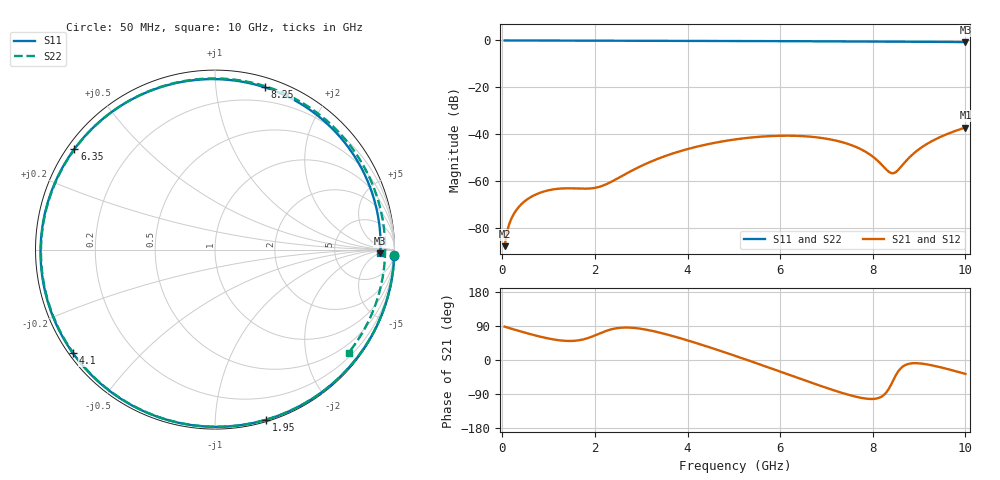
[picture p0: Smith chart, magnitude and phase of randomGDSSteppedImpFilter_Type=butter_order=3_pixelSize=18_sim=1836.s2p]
! freq	dB(S11)	phase(S11)	dB(S12)	phase(S12)
!  dB(S21)	phase(S21)	dB(S22)	phase(S22)
!S-par simulation data
#  GHz  S  DB  R 50
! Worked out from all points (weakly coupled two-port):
!   200 points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, 50 MHz to 10 GHz, reference 50 ohm
!   highest |S21| = -37.21 dB at 10 GHz (marker M1); lowest = -87.9 dB at 50 MHz (marker M2)
!   lowest |S11| = -0.7 dB at 10 GHz (marker M3), VSWR 24.45, Z = 1.13e+03 - j321 ohm
!   |S11| at or under -10 dB: nowhere
!   |S22| runs from -0.5 to 0.0 dB; largest |S21 - S12| = 0
!   S11 on the Smith chart (normalised r, x): 50 MHz: 1, -57; 1.95 GHz: 0.01, -1.34; 4.1 GHz: 0.01, -0.33; 6.35 GHz: 0.02, +0.32; 8.25 GHz: 0.08, +1.35; 10 GHz: 23, -6
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0.05  -0.01 -2.0  -87.92 88.0  -87.92 88.0  -0.00 -1.9
0.1  -0.01 -3.9  -81.93 86.1  -81.93 86.1  -0.01 -3.7
0.4  -0.02 -15.6  -70.22 75.3  -70.22 75.3  -0.02 -14.6
0.7  -0.03 -27.2  -66.04 65.2  -66.04 65.2  -0.03 -25.5
1.15  -0.05 -44.3  -63.51 53.4  -63.51 53.4  -0.05 -41.7
1.75  -0.08 -66.3  -63.34 54.4  -63.34 54.4  -0.08 -63.1
1.95  -0.09 -73.4  -63.15 62.4  -63.15 62.4  -0.09 -70.2
2.65  -0.12 -97.4  -57.21 85.7  -57.21 85.7  -0.12 -94.8
3.4  -0.15 -121.9  -50.27 72.2  -50.27 72.2  -0.16 -121.3
4.1  -0.18 -143.9  -45.90 48.0  -45.90 48.0  -0.20 -146.7
5.05  -0.23 -173.4  -42.24 10.1  -42.24 10.1  -0.27 176.7
5.7  -0.28 165.9  -40.97 -17.6  -40.97 -17.6  -0.33 149.5
6.35  -0.33 144.4  -40.77 -45.8  -40.77 -45.8  -0.38 120.2
6.7  -0.35 132.2  -41.22 -60.9  -41.22 -60.9  -0.40 103.8
7.15  -0.39 116.0  -42.56 -79.6  -42.56 -79.6  -0.42 82.2
7.65  -0.43 97.0  -45.62 -97.3  -45.62 -97.3  -0.43 58.2
8.25  -0.48 73.0  -54.29 -91.2  -54.29 -91.2  -0.44 30.4
8.35  -0.49 68.9  -56.18 -75.3  -56.18 -75.3  -0.45 25.9
8.5  -0.51 62.7  -56.23 -39.8  -56.23 -39.8  -0.45 19.3
8.9  -0.55 45.8  -48.02 -8.4  -48.02 -8.4  -0.46 2.5
9.25  -0.59 30.9  -43.31 -13.4  -43.31 -13.4  -0.48 -11.2
10  -0.71 -1.3  -37.21 -36.7  -37.21 -36.7  -0.54 -37.6
